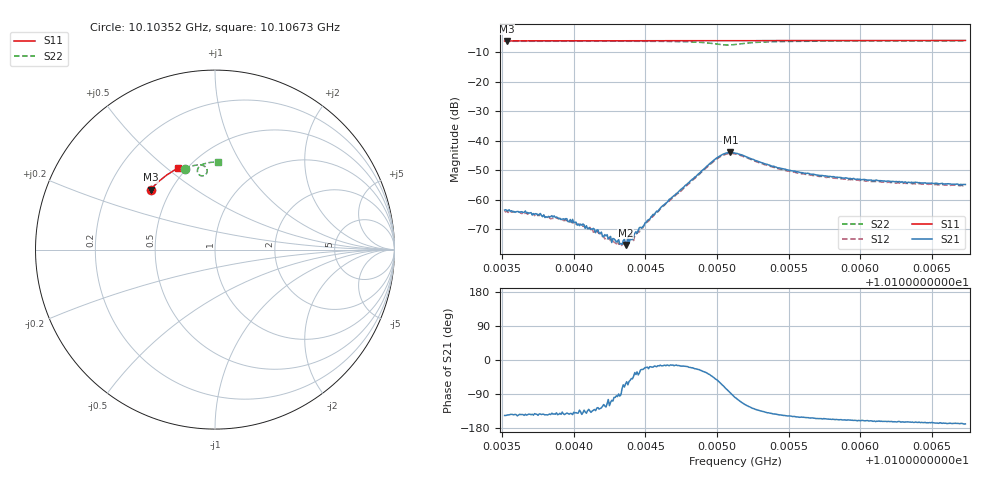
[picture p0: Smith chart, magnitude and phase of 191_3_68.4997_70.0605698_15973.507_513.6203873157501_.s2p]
#  HZ  S  RI  R  50.00
! Rohde & Schwarz Vector Network Analyzer
! Rohde-Schwarz,ZNB20-2Port,1311601062101988,3.16
! Created: UTC 3/20/2024, 5:12:15 PM
! freq[Hz]  re:S11  im:S11  re:S21  im:S21  re:S12  im:S12  re:S22  im:S22
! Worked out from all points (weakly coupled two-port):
!   401 points, 10.10352 GHz to 10.10673 GHz, reference 50 ohm
!   highest |S21| = -44.05 dB at 10.10509 GHz (marker M1); lowest = -75.4 dB at 10.10436 GHz (marker M2)
!   lowest |S11| = -6.2 dB at 10.10353 GHz (marker M3), VSWR 2.92, Z = 19.4 + j17.1 ohm
!   |S11| at or under -10 dB: nowhere
!   |S22| runs from -7.6 to -6.2 dB; largest |S21 - S12| = 0.00067
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1.0103517e10  -0.3585 0.3333  -0.000551 -0.000368  -0.000498 -0.000397  -0.1688 0.451
1.0103533e10  -0.3578 0.3339  -0.000539 -0.00037  -0.00048 -0.000424  -0.1676 0.4516
1.010375e10  -0.3492 0.3439  -0.000457 -0.00031  -0.000412 -0.000337  -0.1539 0.4569
1.0103815e10  -0.3465 0.3469  -0.000409 -0.000285  -0.000387 -0.000321  -0.1496 0.4584
1.0103863e10  -0.3446 0.3488  -0.000416 -0.000324  -0.000355 -0.000324  -0.1464 0.4596
1.0104056e10  -0.3365 0.3576  -0.000296 -0.000217  -0.000245 -0.000262  -0.1334 0.4638
1.0104176e10  -0.3314 0.3626  -0.000172 -0.000209  -0.000143 -0.000222  -0.1247 0.4663
1.0104281e10  -0.3268 0.3671  -3.25e-05 -0.000213  -8.89e-07 -0.000189  -0.1169 0.4684
1.0104329e10  -0.3246 0.3692  -4.03e-06 -0.000179  4.38e-05 -0.000156  -0.1131 0.469
1.0104353e10  -0.3236 0.3702  6.79e-05 -0.000202  8.52e-05 -0.000161  -0.1113 0.4694
1.0104361e10  -0.3233 0.3706  7.73e-05 -0.00015  9.39e-05 -0.000163  -0.1104 0.4696
1.0104402e10  -0.3214 0.3724  0.000137 -0.000157  0.000182 -0.000183  -0.1072 0.4704
1.0104442e10  -0.3198 0.3739  0.00023 -0.00014  0.000234 -0.000129  -0.1039 0.4708
1.0104595e10  -0.3129 0.3802  0.000646 -0.000181  0.000635 -0.000129  -0.0896 0.4721
1.0104981e10  -0.2948 0.3951  0.00319 -0.00345  0.00337 -0.003  -0.0438 0.4354
1.0105037e10  -0.2922 0.3971  0.00237 -0.00529  0.00278 -0.00483  -0.0532 0.417
1.0105093e10  -0.2897 0.3991  0.000321 -0.00627  0.000856 -0.00598  -0.075 0.4107
1.0105125e10  -0.2882 0.4004  -0.000945 -0.00603  -0.000321 -0.00593  -0.0865 0.4155
1.0105423e10  -0.2741 0.4115  -0.00277 -0.00202  -0.00255 -0.00219  -0.0812 0.4681
1.0105664e10  -0.2622 0.42  -0.00238 -0.00123  -0.0022 -0.00134  -0.0593 0.4787
1.0106203e10  -0.2346 0.4375  -0.00196 -0.000617  -0.00181 -0.000739  -0.0188 0.4865
1.0106734e10  -0.2062 0.4527  -0.00176 -0.000354  -0.00164 -0.00054  0.0176 0.4886
